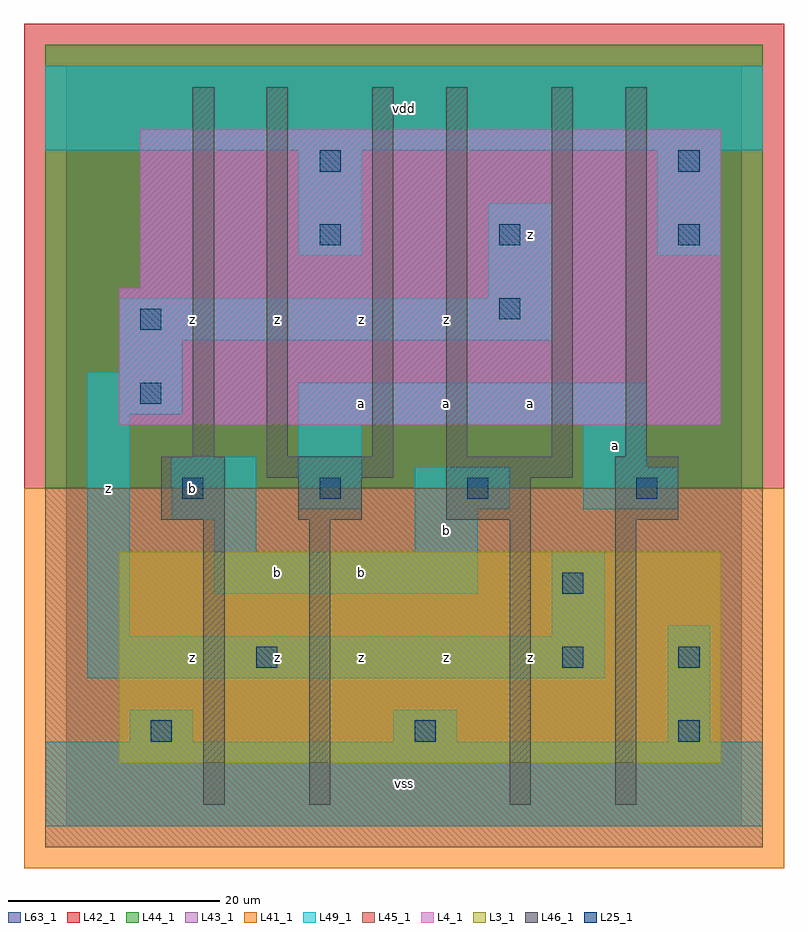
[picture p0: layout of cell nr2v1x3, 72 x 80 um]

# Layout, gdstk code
import gdstk
lib = gdstk.Library(unit=1e-6, precision=1e-09)
def R(c, l, rs):  # rectangles x0, y0, x1, y1
    for r in rs: c.add(gdstk.rectangle(r[:2], r[2:], *l))
def A(c, l, x, y, w, h, nx, ny, dx, dy):  # array of equal rectangles
    R(c, l, [(x+i*dx, y+j*dy, x+i*dx+w, y+j*dy+h) for i in range(nx) for j in range(ny)])
L3_1 = (3, 1)
L4_1 = (4, 1)
L25_1 = (25, 1)
L41_1 = (41, 1)
L42_1 = (42, 1)
L43_1 = (43, 1)
L44_1 = (44, 1)
L45_1 = (45, 1)
L46_1 = (46, 1)
L49_1 = (49, 1)
L63_1 = (63, 1)

nr2v1x3 = lib.new_cell('nr2v1x3')
R(nr2v1x3, L3_1, [(5,6,62,26)])
R(nr2v1x3, L4_1, [(5,38,62,51), (7,51,62,66)])
A(nr2v1x3, L25_1, 8, 8, 2, 2, 3, 1, 25, 0)
A(nr2v1x3, L25_1, 24, 55, 2, 2, 3, 1, 17, 0)
R(nr2v1x3, L25_1, [(18,15,20,17), (47,15,49,17), (58,15,60,17), (47,22,49,24), (11,31,13,33), (24,31,26,33), (38,31,40,33), (54,31,56,33), (7,40,9,42), (7,47,9,49), (41,48,43,50), (24,62,26,64), (58,62,60,64)])
R(nr2v1x3, L41_1, [(-4,-4,68,32)])
R(nr2v1x3, L42_1, [(-4,32,68,76)])
R(nr2v1x3, L43_1, [(5,6,62,26), (5,38,62,51), (7,51,62,66)])
R(nr2v1x3, L44_1, [(-2,32,66,74)])
R(nr2v1x3, L45_1, [(-2,-2,66,32)])
R(nr2v1x3, L46_1, [(13,2,15,29), (23,2,25,29), (42,2,44,29), (52,2,54,29), (9,29,15,35), (22,29,28,33), (36,29,44,33), (52,29,58,35), (19,33,31,35), (36,33,48,35), (12,35,14,70), (19,35,21,70), (29,35,31,70), (36,35,38,70), (46,35,48,70), (53,35,55,70)])
R(nr2v1x3, L49_1, [(-2,0,66,8), (6,8,12,11), (31,8,37,11), (57,8,61,19), (2,14,51,18), (2,18,6,39), (46,18,51,26), (14,22,39,26), (14,26,18,29), (33,26,39,30), (10,29,18,35), (22,30,28,38), (33,30,42,34), (49,30,58,34), (49,34,55,38), (22,38,55,42), (2,39,11,43), (5,43,11,46), (5,46,46,50), (40,50,46,59), (22,54,28,64), (56,54,62,64), (-2,64,66,72)])
R(nr2v1x3, L63_1, [(0,0,64,72)])
nr2v1x3.add(gdstk.Label('z', (4,32), layer=49, texttype=1))
nr2v1x3.add(gdstk.Label('z', (20,16), layer=49, texttype=1))
nr2v1x3.add(gdstk.Label('z', (12,16), layer=49, texttype=1))
nr2v1x3.add(gdstk.Label('b', (20,24), layer=49, texttype=1))
nr2v1x3.add(gdstk.Label('b', (12,32), layer=49, texttype=1))
nr2v1x3.add(gdstk.Label('z', (12,48), layer=49, texttype=1))
nr2v1x3.add(gdstk.Label('z', (20,48), layer=49, texttype=1))
nr2v1x3.add(gdstk.Label('vss', (32,4), layer=49, texttype=1))
nr2v1x3.add(gdstk.Label('z', (36,16), layer=49, texttype=1))
nr2v1x3.add(gdstk.Label('z', (28,16), layer=49, texttype=1))
nr2v1x3.add(gdstk.Label('b', (28,24), layer=49, texttype=1))
nr2v1x3.add(gdstk.Label('b', (36,28), layer=49, texttype=1))
nr2v1x3.add(gdstk.Label('a', (28,40), layer=49, texttype=1))
nr2v1x3.add(gdstk.Label('a', (36,40), layer=49, texttype=1))
nr2v1x3.add(gdstk.Label('z', (28,48), layer=49, texttype=1))
nr2v1x3.add(gdstk.Label('z', (36,48), layer=49, texttype=1))
nr2v1x3.add(gdstk.Label('vdd', (32,68), layer=49, texttype=1))
nr2v1x3.add(gdstk.Label('z', (44,16), layer=49, texttype=1))
nr2v1x3.add(gdstk.Label('a', (44,40), layer=49, texttype=1))
nr2v1x3.add(gdstk.Label('z', (44,56), layer=49, texttype=1))
nr2v1x3.add(gdstk.Label('a', (52,36), layer=49, texttype=1))

lib.write_gds('nr2v1x3.gds')
